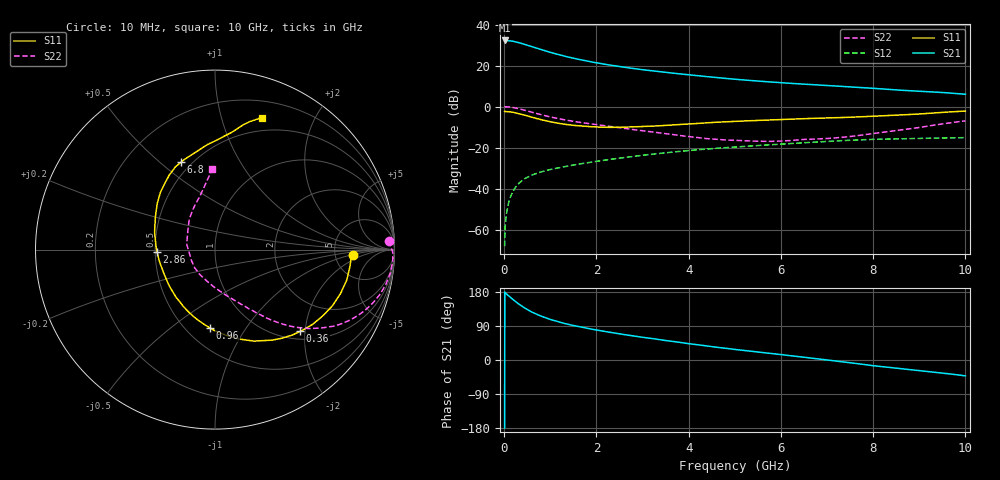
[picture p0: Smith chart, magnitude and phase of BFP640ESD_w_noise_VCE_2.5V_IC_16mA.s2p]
! Infineon Technologies  Discrete & RF Semiconductors
! BFP640ESD
! VCE =  2.5 V,  IC =  16 mA
! Common Emitter S-Parameters:  Jan 2016
# GHz  S  MA  R  50
!  f  S11  S21  S12  S22
! GHz  MAG  ANG  MAG  ANG  MAG  ANG  MAG  ANG
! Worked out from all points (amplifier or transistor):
!   233 points, 10 MHz to 10 GHz, reference 50 ohm
!   highest |S21| = 32.2 dB at 10 MHz (marker M1)
!   |S21| within 3 dB of that: start of sweep to 597.1 MHz
!   unconditionally stable (mu >= 1): 3.569 GHz to 7.899 GHz; 8.102 GHz to 8.745 GHz
!   at 200 MHz: K = 0.15, MSG = 36.4 dB, |S12| = -40.9 dB
!   at 1.74 GHz: K = 0.83, MSG = 25.0 dB, |S12| = -27.6 dB
!   at 10 GHz: K = 0.89, MSG = 10.6 dB, |S12| = -15.1 dB
!   lowest NFmin = 0.81 dB at 450 MHz
!   S11 on the Smith chart (normalised r, x): 10 MHz: 7.44, -1.06; 360 MHz: 1.17, -1.89; 960 MHz: 0.65, -0.70; 2.86 GHz: 0.51, -0.01; 6.8 GHz: 0.44, +0.59; 10 GHz: 0.36, +1.36
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0.01  0.7672 -2.2  40.93 -179.7  0.0004 123.4  0.968 2.9
0.02  0.7611 -2.9  40.77 178.1  0.0011 89.8  0.991 -0.9
0.05  0.7583 -6.7  40.58 174.3  0.0024 87.3  0.992 -3.7
0.1  0.7536 -13.0  40.43 169.3  0.0047 84.7  0.9854 -7.8
0.175  0.7321 -22.4  39.32 161.4  0.0079 78.8  0.9603 -13.5
0.26  0.701 -32.6  37.51 152.9  0.0114 74.4  0.9218 -19.5
0.36  0.6582 -43.8  35.12 144.1  0.0149 69.9  0.867 -25.7
0.48  0.6046 -55.8  31.95 134.7  0.0185 65.5  0.7976 -31.9
0.6  0.5547 -66.8  28.91 126.5  0.0215 62.2  0.7307 -36.8
0.8  0.4823 -82.4  24.51 115.8  0.0257 58.9  0.6371 -43.0
0.96  0.438 -93.5  21.68 108.8  0.0287 57.2  0.5761 -46.8
1.1  0.4079 -102.4  19.56 103.4  0.0311 56.3  0.5316 -49.5
1.3  0.3748 -113.9  17.11 96.7  0.0344 55.4  0.4794 -52.8
1.68  0.3363 -132.6  13.71 86.4  0.0408 54.4  0.4084 -57.7
2.2  0.3145 -154.1  10.69 74.9  0.0501 53.0  0.3412 -64.0
2.86  0.3233 -177.8  8.323 62.5  0.0626 49.9  0.2708 -74.4
3.4  0.3441 166.7  7.036 53.3  0.0732 46.5  0.2275 -85.1
4.3  0.3972 145.2  5.52 38.5  0.0911 39.3  0.1702 -112.3
5.1  0.4438 132.6  4.556 26.6  0.1057 32.7  0.1494 -141.4
6.8  0.522 111.4  3.37 3.0  0.1381 17.6  0.1634 162.4
8.4  0.6123 88.7  2.599 -20.3  0.1631 -0.1  0.2528 119.5
10  0.7811 70.4  2.003 -41.8  0.1757 -15.4  0.4513 91.8
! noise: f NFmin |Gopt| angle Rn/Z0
0.45  0.81  0.03  -4  0.09
0.9  0.83  0.01  -11  0.09
1.9  0.84  0.01  -88  0.12
2.4  0.85  0.03  -106  0.11
5.5  1.11  0.34  -116  0.13
10  1.73  0.58  -77  0.67
